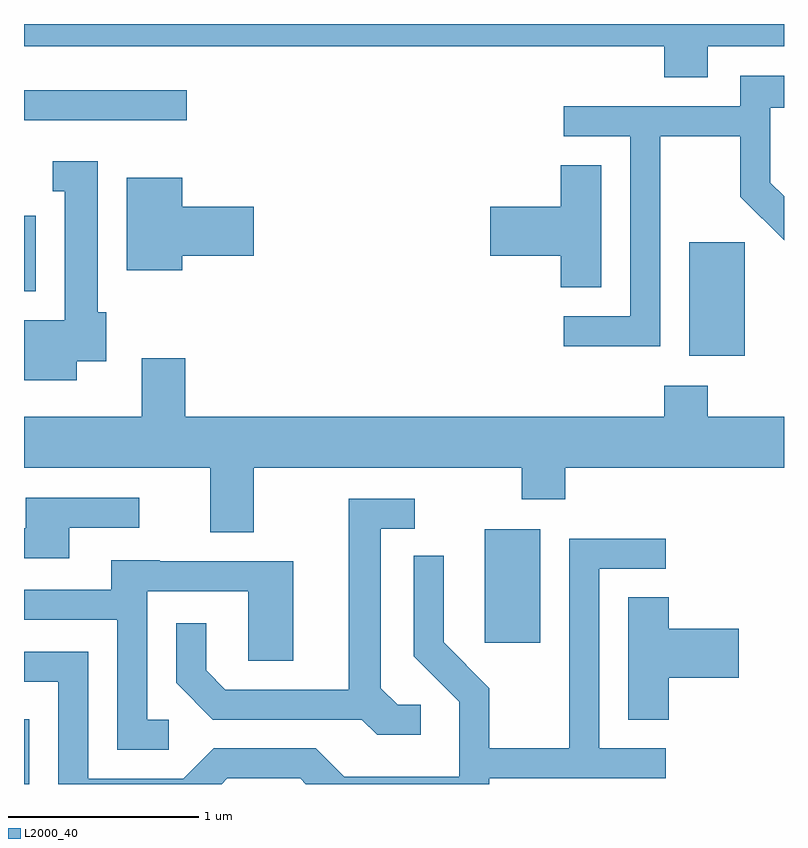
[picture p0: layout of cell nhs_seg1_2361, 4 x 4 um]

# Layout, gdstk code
import gdstk
lib = gdstk.Library(unit=1e-6, precision=1e-09)
def R(c, l, rs):  # rectangles x0, y0, x1, y1
    for r in rs: c.add(gdstk.rectangle(r[:2], r[2:], *l))
def P(c, l, *ps):  # polygons
    for p in ps: c.add(gdstk.Polygon(p, *l))
L2000_40 = (2000, 40)

nhs_seg1_2361 = lib.new_cell('nhs_seg1_2361')
R(nhs_seg1_2361, L2000_40, [(257.611,875.712,257.639,876.054), (260.036,876.456,260.329,877.054), (261.111,877.966,261.404,878.564), (257.611,878.306,257.674,878.704), (257.611,879.206,258.468,879.364)])
P(nhs_seg1_2361, L2000_40, [(261.209,879.596),(261.611,879.596),(261.611,879.712),(257.611,879.712),(257.611,879.596),(260.981,879.596),(260.981,879.431),(261.209,879.431)],
  [(260.959,879.121),(261.381,879.121),(261.381,878.804),(261.611,878.574),(261.611,878.805),(261.539,878.877),(261.539,879.271),(261.611,879.271),(261.611,879.439),(261.381,879.439),(261.381,879.279),(260.453,879.279),(260.453,879.121),(260.801,879.121),(260.801,878.174),(260.453,878.174),(260.453,878.016),(260.959,878.016)],
  [(257.889,877.936),(258.044,877.936),(258.044,878.194),(257.999,878.194),(257.999,878.989),(257.763,878.989),(257.763,878.831),(257.826,878.831),(257.826,878.154),(257.611,878.154),(257.611,877.836),(257.889,877.836)],
  [(260.649,878.969),(260.436,878.969),(260.436,878.749),(260.066,878.749),(260.066,878.491),(260.436,878.491),(260.436,878.326),(260.649,878.326)],
  [(258.444,878.491),(258.819,878.491),(258.819,878.749),(258.444,878.749),(258.444,878.904),(258.151,878.904),(258.151,878.416),(258.444,878.416)],
  [(258.819,877.376),(260.231,877.376),(260.231,877.211),(260.459,877.211),(260.459,877.376),(261.611,877.376),(261.611,877.644),(261.209,877.644),(261.209,877.809),(260.981,877.809),(260.981,877.644),(258.459,877.644),(258.459,877.954),(258.231,877.954),(258.231,877.644),(257.611,877.644),(257.611,877.376),(258.591,877.376),(258.591,877.036),(258.819,877.036)],
  [(257.849,877.061),(258.218,877.061),(258.218,877.219),(257.621,877.219),(257.621,877.059),(257.611,877.059),(257.611,876.901),(257.849,876.901)],
  [(259.698,876.129),(259.577,876.129),(259.489,876.217),(259.489,877.056),(259.668,877.056),(259.668,877.214),(259.321,877.214),(259.321,876.209),(258.671,876.209),(258.569,876.312),(258.569,876.558),(258.411,876.558),(258.411,876.244),(258.604,876.051),(259.389,876.051),(259.469,875.971),(259.698,875.971)],
  [(258.682,875.741),(259.064,875.741),(259.093,875.712),(260.059,875.712),(260.059,875.741),(260.988,875.741),(260.988,875.899),(260.639,875.899),(260.639,876.846),(260.988,876.846),(260.988,877.004),(260.481,877.004),(260.481,875.899),(260.059,875.899),(260.059,876.217),(259.819,876.457),(259.819,876.913),(259.661,876.913),(259.661,876.384),(259.901,876.144),(259.901,875.749),(259.296,875.749),(259.147,875.899),(258.609,875.899),(258.449,875.739),(257.949,875.739),(257.949,876.409),(257.611,876.409),(257.611,876.251),(257.791,876.251),(257.791,875.712),(258.653,875.712)],
  [(258.373,876.049),(258.259,876.049),(258.259,876.726),(258.791,876.726),(258.791,876.361),(259.029,876.361),(259.029,876.884),(258.325,876.884),(258.325,876.889),(258.071,876.889),(258.071,876.734),(257.611,876.734),(257.611,876.576),(258.101,876.576),(258.101,875.891),(258.373,875.891)],
  [(261.004,876.271),(261.374,876.271),(261.374,876.529),(261.004,876.529),(261.004,876.694),(260.791,876.694),(260.791,876.051),(261.004,876.051)])

lib.write_gds('nhs_seg1_2361.gds')
